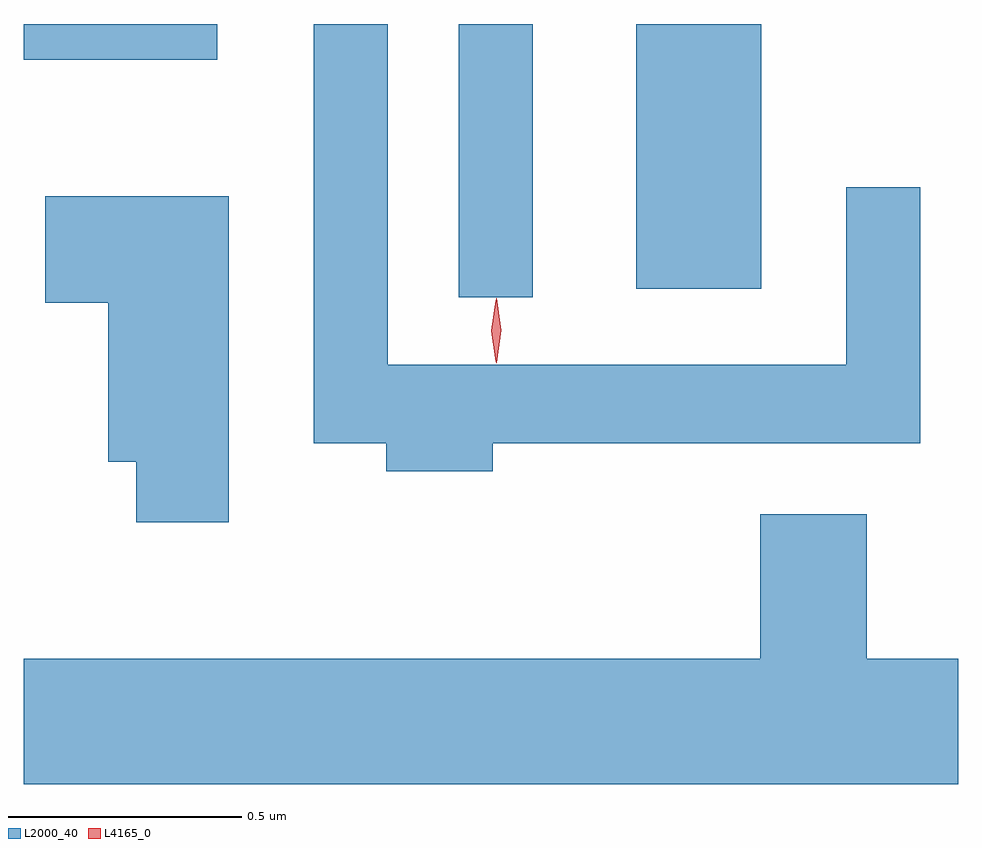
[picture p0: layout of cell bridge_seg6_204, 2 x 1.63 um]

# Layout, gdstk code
import gdstk
lib = gdstk.Library(unit=1e-6, precision=1e-09)
def R(c, l, rs):  # rectangles x0, y0, x1, y1
    for r in rs: c.add(gdstk.rectangle(r[:2], r[2:], *l))
def P(c, l, *ps):  # polygons
    for p in ps: c.add(gdstk.Polygon(p, *l))
L2000_40 = (2000, 40)
L4165_0 = (4165, 0)

bridge_seg6_204 = lib.new_cell('bridge_seg6_204')
R(bridge_seg6_204, L2000_40, [(1102.876,1575.498,1103.034,1576.083), (1103.256,1575.516,1103.524,1576.083), (1101.945,1576.006,1102.359,1576.083)])
P(bridge_seg6_204, L2000_40, [(1102.949,1575.186),(1103.864,1575.186),(1103.864,1575.733),(1103.706,1575.733),(1103.706,1575.354),(1102.724,1575.354),(1102.724,1576.083),(1102.566,1576.083),(1102.566,1575.186),(1102.721,1575.186),(1102.721,1575.126),(1102.949,1575.126)],
  [(1102.384,1575.714),(1101.991,1575.714),(1101.991,1575.486),(1102.126,1575.486),(1102.126,1575.146),(1102.186,1575.146),(1102.186,1575.016),(1102.384,1575.016)],
  [(1103.945,1574.724),(1103.749,1574.724),(1103.749,1575.034),(1103.521,1575.034),(1103.521,1574.724),(1101.945,1574.724),(1101.945,1574.456),(1103.945,1574.456)])
P(bridge_seg6_204, L4165_0, [(1102.956,1575.359),(1102.955,1575.36),(1102.946,1575.426),(1102.955,1575.492),(1102.956,1575.493),(1102.956,1575.492),(1102.966,1575.426),(1102.956,1575.36)],
  [(1102.957,1575.357),(1102.956,1575.358),(1102.947,1575.427),(1102.956,1575.496),(1102.957,1575.496),(1102.957,1575.496),(1102.967,1575.427),(1102.957,1575.358)])

lib.write_gds('bridge_seg6_204.gds')
